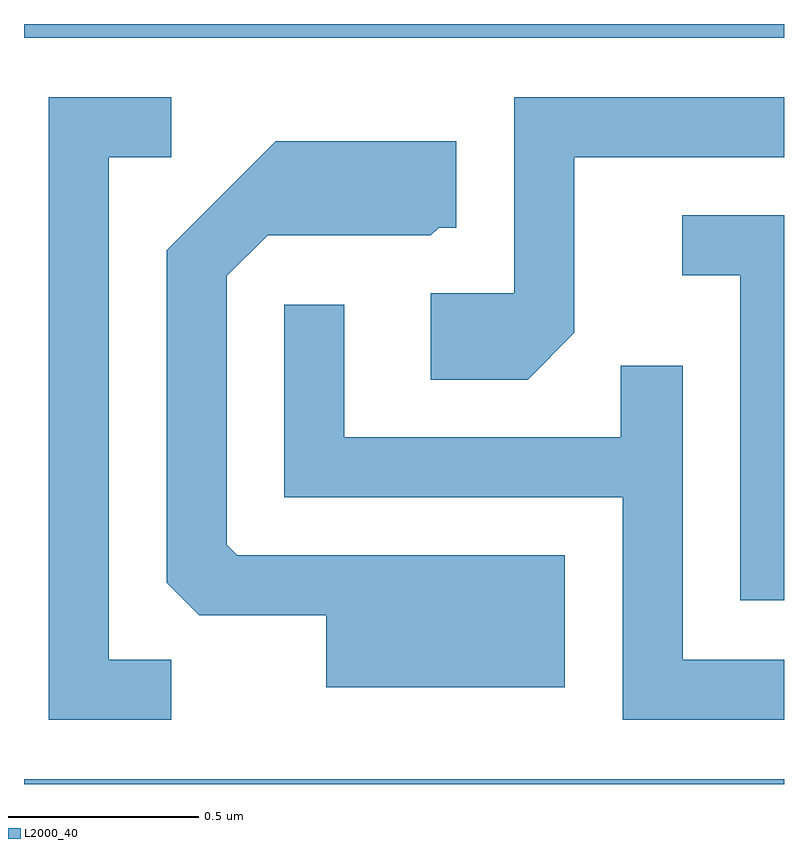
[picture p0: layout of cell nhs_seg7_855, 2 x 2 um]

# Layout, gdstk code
import gdstk
lib = gdstk.Library(unit=1e-6, precision=1e-09)
def R(c, l, rs):  # rectangles x0, y0, x1, y1
    for r in rs: c.add(gdstk.rectangle(r[:2], r[2:], *l))
def P(c, l, *ps):  # polygons
    for p in ps: c.add(gdstk.Polygon(p, *l))
L2000_40 = (2000, 40)

nhs_seg7_855 = lib.new_cell('nhs_seg7_855')
R(nhs_seg7_855, L2000_40, [(191.611,1701.252,193.611,1701.264), (191.611,1703.216,193.611,1703.252)])
P(nhs_seg7_855, L2000_40, [(193.059,1702.439),(193.059,1702.901),(193.611,1702.901),(193.611,1703.059),(192.901,1703.059),(192.901,1702.544),(192.681,1702.544),(192.681,1702.316),(192.937,1702.316)],
  [(191.998,1701.579),(191.834,1701.579),(191.834,1702.901),(191.998,1702.901),(191.998,1703.059),(191.676,1703.059),(191.676,1701.421),(191.998,1701.421)],
  [(193.034,1701.854),(192.172,1701.854),(192.144,1701.882),(192.144,1702.589),(192.252,1702.696),(192.682,1702.696),(192.702,1702.716),(192.749,1702.716),(192.749,1702.944),(192.274,1702.944),(191.986,1702.657),(191.986,1701.782),(192.072,1701.696),(192.406,1701.696),(192.406,1701.506),(193.034,1701.506)],
  [(193.611,1702.749),(193.343,1702.749),(193.343,1702.591),(193.496,1702.591),(193.496,1701.736),(193.611,1701.736)],
  [(193.611,1701.579),(193.344,1701.579),(193.344,1702.353),(193.181,1702.353),(193.181,1702.164),(192.454,1702.164),(192.454,1702.513),(192.296,1702.513),(192.296,1702.006),(193.186,1702.006),(193.186,1701.421),(193.611,1701.421)])

lib.write_gds('nhs_seg7_855.gds')
